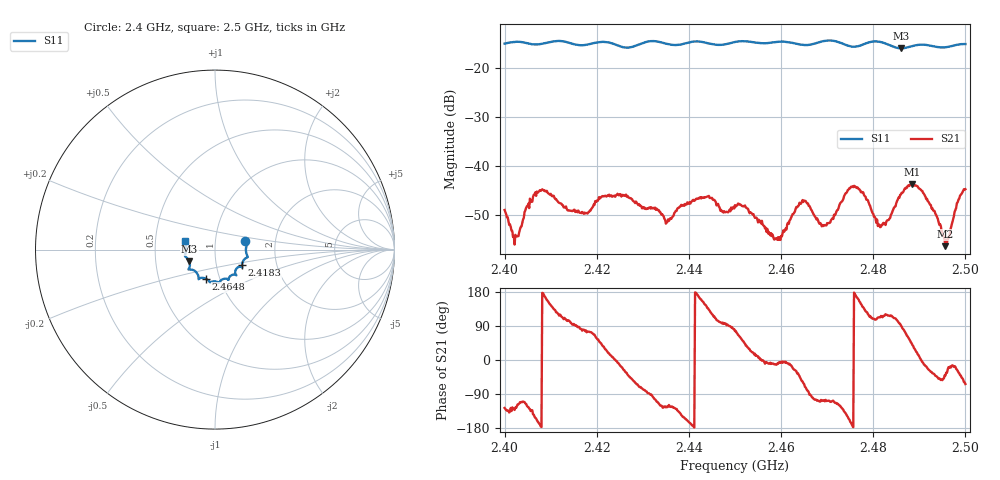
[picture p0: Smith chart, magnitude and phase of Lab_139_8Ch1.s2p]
# Hz S RI R 50
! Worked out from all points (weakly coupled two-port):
!   601 points, 2.4 GHz to 2.5 GHz, reference 50 ohm
!   highest |S21| = -43.66 dB at 2.4885 GHz (marker M1); lowest = -56.3 dB at 2.4957 GHz (marker M2)
!   lowest |S11| = -16.1 dB at 2.486 GHz (marker M3), VSWR 1.37, Z = 37.2 - j4.95 ohm
!   |S11| at or under -10 dB: start of sweep to end of sweep
!   S12 and S22 are empty: the file has one direction only
!   S11 on the Smith chart (normalised r, x): 2.4 GHz: 1.40, +0.13; 2.4183 GHz: 1.33, -0.24; 2.4648 GHz: 0.86, -0.29; 2.5 GHz: 0.71, +0.07
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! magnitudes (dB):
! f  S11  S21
! 2.4 GHz  -15.1  -49.0
! 2.4023 GHz  -14.8  -54.0
! 2.4078 GHz  -15.2  -45.1
! 2.4167 GHz  -15.4  -49.6
! 2.4183 GHz  -15.2  -49.4
! 2.4247 GHz  -15.5  -45.9
! 2.4333 GHz  -14.7  -49.1
! 2.4353 GHz  -15.2  -51.4
! 2.4438 GHz  -15.0  -46.3
! 2.45 GHz  -14.8  -48.0
! 2.459 GHz  -14.8  -54.8
! 2.4648 GHz  -15.4  -47.4
! 2.4667 GHz  -15.3  -49.1
! 2.4702 GHz  -14.5  -51.7
! 2.4758 GHz  -15.7  -44.1
! 2.4812 GHz  -14.7  -51.9
! 2.4833 GHz  -15.3  -51.0
! 2.486 GHz  -16.1  -45.8
! 2.4885 GHz  -15.6  -43.7
! 2.4912 GHz  -15.3  -46.0
! 2.4957 GHz  -15.9  -56.3
! 2.5 GHz  -15.2  -44.8
